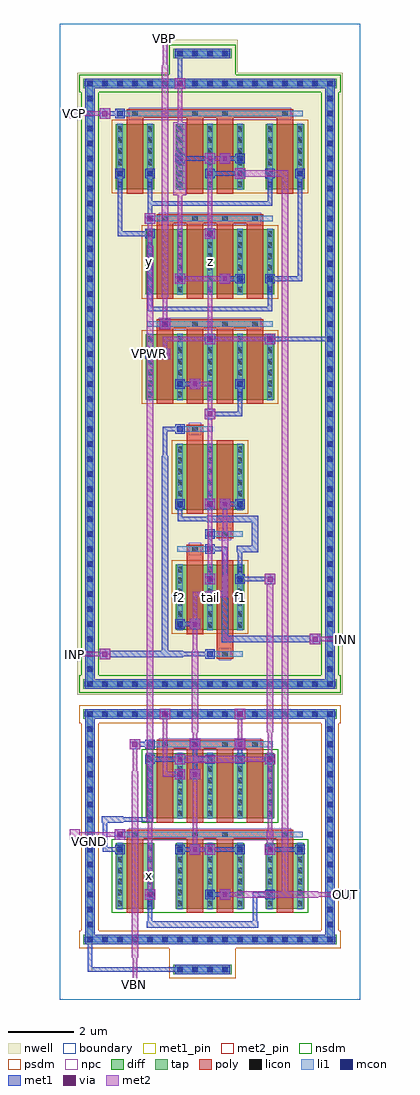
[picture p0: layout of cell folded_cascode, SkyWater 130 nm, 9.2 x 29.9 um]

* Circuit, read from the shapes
.subckt folded_cascode INN INP OUT VBN VBP VCN VCP VGND VPWR f1 f2 tail x y z
XM1 x VCN f1 VGND sky130_fd_pr__nfet_01v8 w=2 l=0.5 m=2
XM2 VGND VBN f1 VGND sky130_fd_pr__nfet_01v8 w=2 l=0.5 m=2
XM3 OUT VCN f2 VGND sky130_fd_pr__nfet_01v8 w=2 l=0.5 m=2
XM4 f2 VBN VGND VGND sky130_fd_pr__nfet_01v8 w=2 l=0.5 m=2
XM5 x VCP y VPWR sky130_fd_pr__pfet_01v8 w=2 l=0.5 m=2
XM6 tail VBP VPWR VPWR sky130_fd_pr__pfet_01v8 w=2 l=0.5 m=4
XM7 VPWR x y VPWR sky130_fd_pr__pfet_01v8 w=2 l=0.5 m=2
XM8 tail INN f2 VPWR sky130_fd_pr__pfet_01v8 w=2 l=0.5 m=2
XM9 tail INP f1 VPWR sky130_fd_pr__pfet_01v8 w=2 l=0.5 m=2
XM10 z x VPWR VPWR sky130_fd_pr__pfet_01v8 w=2 l=0.5 m=2
XM11 OUT VCP z VPWR sky130_fd_pr__pfet_01v8 w=2 l=0.5 m=2
.ends

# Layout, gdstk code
import gdstk
lib = gdstk.Library(unit=1e-6, precision=1e-09)
def R(c, l, rs):  # rectangles x0, y0, x1, y1
    for r in rs: c.add(gdstk.rectangle(r[:2], r[2:], *l))
def A(c, l, x, y, w, h, nx, ny, dx, dy):  # array of equal rectangles
    R(c, l, [(x+i*dx, y+j*dy, x+i*dx+w, y+j*dy+h) for i in range(nx) for j in range(ny)])
nwell = (64, 20)
diff = (65, 20)
tap = (65, 44)
poly = (66, 20)
licon = (66, 44)
li1 = (67, 20)
mcon = (67, 44)
met1_pin = (68, 16)
met1 = (68, 20)
via = (68, 44)
met2_pin = (69, 16)
met2 = (69, 20)
nsdm = (93, 44)
psdm = (94, 20)
npc = (95, 20)
boundary = (235, 4)

folded_cascode = lib.new_cell('folded_cascode')
R(folded_cascode, nwell, [(0.535,9.335,8.665,28.385), (3.295,28.385,5.445,29.4)])
R(folded_cascode, diff, [(1.715,2.785,2.885,4.785), (3.555,2.785,5.645,4.785), (6.315,2.785,7.485,4.785), (2.635,5.545,6.565,7.545), (3.555,11.325,5.645,13.325), (3.555,15.005,5.645,17.005), (2.635,18.38,6.565,20.38), (2.635,21.6,6.565,23.6), (1.715,24.82,2.885,26.82), (3.555,24.82,5.645,26.82), (6.315,24.82,7.485,26.82)])
R(folded_cascode, tap, [(3.475,0.775,5.265,1.065), (0.715,1.695,8.485,1.985), (0.775,1.695,1.065,8.885), (8.135,1.695,8.425,8.885), (0.715,8.595,8.485,8.885), (0.715,9.515,8.485,9.805), (0.775,9.515,1.065,28.205), (8.135,9.515,8.425,28.205), (0.715,27.915,8.485,28.205), (3.475,28.835,5.265,29.125)])
A(folded_cascode, poly, 2.97, 5.415, 0.5, 2.405, 4, 1, 0.92, 0)
A(folded_cascode, poly, 2.97, 18.25, 0.5, 2.45, 4, 2, 0.92, 3.22)
R(folded_cascode, poly, [(2.05,2.655,2.55,5.06), (3.89,2.655,4.39,5.06), (4.81,2.655,5.31,5.06), (6.65,2.655,7.15,5.06), (2.05,4.925,7.15,5.195), (2.97,7.685,6.23,7.955), (4.81,10.445,5.31,10.715), (4.81,10.58,5.31,13.455), (3.89,11.195,4.39,13.8), (3.89,13.665,4.39,13.935), (4.81,14.125,5.31,14.395), (4.81,14.26,5.31,17.135), (3.89,14.875,4.39,17.48), (3.89,17.345,4.39,17.615), (2.97,20.565,6.23,20.835), (2.97,23.785,6.23,24.055), (2.05,24.69,2.55,27.14), (3.89,24.69,4.39,27.14), (4.81,24.69,5.31,27.14), (6.65,24.69,7.15,27.14), (2.05,27.005,7.15,27.275)])
A(folded_cascode, licon, 3.595, 0.835, 0.17, 0.17, 4, 2, 0.46, 28.06)
A(folded_cascode, licon, 0.835, 1.755, 0.17, 0.17, 17, 2, 0.46, 6.9)
A(folded_cascode, licon, 0.835, 2.215, 0.17, 0.17, 1, 14, 0, 0.46)
A(folded_cascode, licon, 8.195, 2.215, 0.17, 0.17, 1, 14, 0, 0.46)
A(folded_cascode, licon, 1.755, 2.85, 0.17, 0.17, 7, 6, 0.92, 0.34)
A(folded_cascode, licon, 2.675, 5.61, 0.17, 0.17, 5, 6, 0.92, 0.34)
A(folded_cascode, licon, 3.135, 7.735, 0.17, 0.17, 4, 2, 0.92, 12.88)
A(folded_cascode, licon, 0.835, 9.575, 0.17, 0.17, 17, 2, 0.46, 18.4)
A(folded_cascode, licon, 0.835, 10.035, 0.17, 0.17, 1, 39, 0, 0.46)
A(folded_cascode, licon, 8.195, 10.035, 0.17, 0.17, 1, 39, 0, 0.46)
A(folded_cascode, licon, 3.595, 11.39, 0.17, 0.17, 3, 6, 0.92, 0.34)
A(folded_cascode, licon, 3.595, 15.07, 0.17, 0.17, 3, 6, 0.92, 0.34)
A(folded_cascode, licon, 2.675, 18.445, 0.17, 0.17, 5, 6, 0.92, 0.34)
A(folded_cascode, licon, 2.675, 21.665, 0.17, 0.17, 5, 6, 0.92, 0.34)
A(folded_cascode, licon, 3.135, 23.835, 0.17, 0.17, 4, 1, 0.92, 0)
A(folded_cascode, licon, 1.755, 24.885, 0.17, 0.17, 7, 6, 0.92, 0.34)
R(folded_cascode, licon, [(2.215,4.975,2.385,5.145), (4.055,4.975,4.225,5.145), (4.975,4.975,5.145,5.145), (6.815,4.975,6.985,5.145), (4.975,10.495,5.145,10.665), (4.055,13.715,4.225,13.885), (4.975,14.175,5.145,14.345), (4.055,17.395,4.225,17.565), (2.215,27.055,2.385,27.225), (4.055,27.055,4.225,27.225), (4.975,27.055,5.145,27.225), (6.815,27.055,6.985,27.225)])
A(folded_cascode, li1, 1.755, 2.77, 0.17, 2.03, 7, 2, 0.92, 22.035)
A(folded_cascode, li1, 2.675, 5.53, 0.17, 2.03, 5, 2, 0.92, 12.835)
A(folded_cascode, li1, 3.595, 11.31, 0.17, 2.03, 3, 2, 0.92, 3.68)
A(folded_cascode, li1, 2.675, 21.585, 0.17, 2.03, 5, 1, 0.92, 0)
R(folded_cascode, li1, [(3.515,0.835,5.225,1.005), (0.755,1.755,8.445,1.925), (0.835,1.755,1.005,8.825), (8.195,1.755,8.365,8.825), (1.755,4.975,7.445,5.145), (2.675,7.735,6.525,7.905), (0.755,8.655,8.445,8.825), (0.755,9.575,8.445,9.745), (0.835,9.575,1.005,28.145), (8.195,9.575,8.365,28.145), (4.515,10.495,5.605,10.665), (3.595,13.715,4.685,13.885), (4.515,14.175,5.605,14.345), (3.595,17.395,4.685,17.565), (2.675,20.615,6.525,20.785), (2.675,23.835,6.525,24.005), (1.755,27.055,7.445,27.225), (0.755,27.975,8.445,28.145), (3.515,28.895,5.225,29.065)])
A(folded_cascode, mcon, 3.595, 0.835, 0.17, 0.17, 4, 2, 0.46, 28.06)
A(folded_cascode, mcon, 0.835, 1.755, 0.17, 0.17, 17, 2, 0.46, 6.9)
A(folded_cascode, mcon, 0.835, 3.135, 0.17, 0.17, 5, 1, 1.84, 0)
A(folded_cascode, mcon, 0.835, 3.595, 0.17, 0.17, 1, 8, 0, 0.46)
A(folded_cascode, mcon, 8.195, 3.595, 0.17, 0.17, 1, 11, 0, 0.46)
A(folded_cascode, mcon, 1.755, 4.515, 0.17, 0.17, 4, 1, 1.84, 0)
A(folded_cascode, mcon, 0.835, 7.275, 0.17, 0.17, 3, 2, 1.84, 16.1)
A(folded_cascode, mcon, 0.835, 9.575, 0.17, 0.17, 17, 2, 0.46, 18.4)
A(folded_cascode, mcon, 0.835, 10.495, 0.17, 0.17, 3, 2, 3.68, 3.22)
A(folded_cascode, mcon, 0.835, 10.955, 0.17, 0.17, 1, 6, 0, 0.46)
A(folded_cascode, mcon, 8.195, 10.955, 0.17, 0.17, 1, 6, 0, 0.46)
A(folded_cascode, mcon, 0.835, 14.175, 0.17, 0.17, 3, 1, 3.68, 0)
A(folded_cascode, mcon, 0.835, 14.635, 0.17, 0.17, 1, 19, 0, 0.46)
A(folded_cascode, mcon, 8.195, 14.635, 0.17, 0.17, 1, 12, 0, 0.46)
A(folded_cascode, mcon, 3.595, 15.095, 0.17, 0.17, 3, 1, 0.92, 0)
A(folded_cascode, mcon, 4.515, 20.155, 0.17, 0.17, 3, 1, 1.84, 0)
A(folded_cascode, mcon, 8.195, 20.615, 0.17, 0.17, 1, 10, 0, 0.46)
A(folded_cascode, mcon, 0.835, 23.835, 0.17, 0.17, 1, 3, 0, 0.46)
A(folded_cascode, mcon, 0.835, 25.215, 0.17, 0.17, 3, 1, 0.92, 0)
A(folded_cascode, mcon, 6.355, 25.215, 0.17, 0.17, 3, 1, 0.92, 0)
A(folded_cascode, mcon, 0.835, 25.675, 0.17, 0.17, 1, 5, 0, 0.46)
A(folded_cascode, mcon, 8.195, 25.675, 0.17, 0.17, 1, 5, 0, 0.46)
R(folded_cascode, mcon, [(0.835,2.215,1.005,2.385), (8.195,2.215,8.365,2.385), (0.835,2.675,1.005,2.845), (8.195,2.675,8.365,2.845), (1.755,4.975,1.925,5.145), (3.595,6.815,3.765,6.985), (5.435,7.275,5.605,7.445), (6.355,7.275,6.525,7.445), (0.835,7.735,1.005,7.905), (2.675,7.735,2.845,7.905), (0.835,8.195,1.005,8.365), (0.835,10.035,1.005,10.205), (8.195,10.035,8.365,10.205), (3.595,11.415,3.765,11.585), (4.515,12.795,4.685,12.965), (5.435,12.795,5.605,12.965), (3.595,17.395,3.765,17.565), (3.595,18.775,3.765,18.945), (5.435,18.775,5.605,18.945), (2.675,19.695,2.845,19.865), (3.135,20.615,3.305,20.785), (3.595,21.995,3.765,22.165), (5.435,21.995,5.605,22.165), (6.355,21.995,6.525,22.165), (2.675,23.835,2.845,24.005), (4.515,25.215,4.685,25.385), (3.595,25.675,3.765,25.845), (5.435,25.675,5.605,25.845), (1.755,27.055,1.925,27.225)])
R(folded_cascode, met1_pin, [(0.85,0.85,0.99,8.81), (2.615,19.635,2.905,19.925)])
A(folded_cascode, met1, 2.615, 3.075, 0.29, 0.29, 3, 2, 1.84, 22.08)
A(folded_cascode, met1, 1.695, 4.455, 0.29, 0.29, 4, 1, 1.84, 0)
A(folded_cascode, met1, 4.455, 7.215, 0.29, 0.29, 3, 1, 0.92, 0)
A(folded_cascode, met1, 3.535, 15.035, 0.29, 0.29, 3, 1, 0.92, 0)
R(folded_cascode, met1, [(3.535,0.775,5.205,1.065), (0.85,0.85,0.99,8.81), (0.85,0.85,3.75,0.99), (3.61,0.85,3.75,0.99), (0.775,1.695,8.425,1.985), (0.775,1.695,1.065,8.885), (8.135,1.695,8.425,8.885), (2.66,2.2,6.08,2.4), (2.69,2.23,2.83,3.29), (5.91,2.23,6.05,3.29), (2.6,3.06,2.92,3.38), (4.9,3.06,5.22,3.38), (4.53,3.15,5.13,3.29), (5.91,3.15,6.51,3.29), (3.98,4.44,4.3,4.76), (4.44,4.44,4.76,4.76), (6.28,4.44,6.6,4.76), (1.31,4.53,1.91,4.67), (1.31,4.53,1.45,5.59), (3.61,4.53,4.21,4.67), (4.53,4.53,5.59,4.67), (6.37,4.53,7.43,4.67), (1.68,4.9,2,5.22), (1.695,4.915,1.985,5.205), (1.28,5.42,1.94,5.62), (1.77,5.45,2.83,5.59), (2.69,5.45,2.83,7.43), (3.52,6.74,3.84,7.06), (3.98,6.74,4.3,7.06), (3.535,6.755,3.825,7.045), (4.07,6.83,4.21,7.43), (3.52,7.2,3.84,7.52), (6.28,7.2,6.6,7.52), (2.615,7.215,2.905,7.505), (2.69,7.29,3.75,7.43), (4.07,7.29,4.21,7.89), (4.07,7.29,4.67,7.43), (5.45,7.29,5.59,7.89), (2.14,7.66,2.46,7.98), (3.98,7.66,4.3,7.98), (5.36,7.66,5.68,7.98), (2.615,7.675,2.905,7.965), (2.23,7.75,2.83,7.89), (3.06,8.58,3.38,8.9), (5.36,8.58,5.68,8.9), (0.775,8.595,8.425,8.885), (0.85,8.67,3.29,8.81), (0.85,8.67,0.99,8.81), (3.15,8.67,5.59,8.81), (3.15,8.67,3.29,8.81), (0.775,9.515,8.425,9.805), (0.775,9.515,1.065,28.205), (8.135,9.515,8.425,28.205), (1.22,10.42,1.54,10.74), (4.455,10.435,4.745,10.725), (1.28,10.48,3.78,10.68), (3.12,10.48,3.32,16.66), (3.61,10.51,4.67,10.65), (7.66,10.88,7.98,11.2), (4.96,10.94,5.16,12.98), (4.96,10.94,7.92,11.14), (3.98,11.34,4.3,11.66), (3.535,11.355,3.825,11.645), (3.61,11.43,4.21,11.57), (4.44,12.72,4.76,13.04), (6.28,12.72,6.6,13.04), (4.455,12.735,4.745,13.025), (5.375,12.735,5.665,13.025), (4.99,12.81,5.13,13.87), (5.45,12.81,6.51,12.95), (5.45,12.81,5.59,13.87), (4.455,13.655,4.745,13.945), (5.42,13.7,6.08,13.9), (5.88,13.7,6.08,14.82), (4.53,13.73,4.67,14.33), (4.53,13.73,5.13,13.87), (4.455,14.115,4.745,14.405), (4.5,14.62,6.08,14.82), (3.61,14.65,4.67,14.79), (3.61,14.65,3.75,15.25), (4.44,15.02,4.76,15.34), (4.9,15.02,5.22,15.34), (4.99,15.11,5.59,15.25), (3.15,16.49,3.29,17.55), (3.535,17.335,3.825,17.625), (3.15,17.41,3.75,17.55), (4.44,17.78,4.76,18.1), (4.53,17.87,5.59,18.01), (5.45,17.87,5.59,18.93), (3.98,18.7,4.3,19.02), (3.535,18.715,3.825,19.005), (5.375,18.715,5.665,19.005), (3.61,18.79,4.21,18.93), (3.06,19.62,3.38,19.94), (2.615,19.635,2.905,19.925), (2.69,19.71,3.29,19.85), (4.44,20.08,4.76,20.4), (6.28,20.08,6.6,20.4), (4.455,20.095,4.745,20.385), (6.295,20.095,6.585,20.385), (6.37,20.17,8.35,20.31), (8.21,20.17,8.35,20.31), (3.06,20.54,3.38,20.86), (3.075,20.555,3.365,20.845), (2.69,21.09,6.51,21.23), (2.69,21.09,2.83,23.53), (6.37,21.09,6.51,22.15), (3.52,21.92,3.84,22.24), (4.9,21.92,5.22,22.24), (3.535,21.935,3.825,22.225), (5.375,21.935,5.665,22.225), (6.295,21.935,6.585,22.225), (4.99,22.01,5.59,22.15), (6.37,22.01,7.43,22.15), (7.29,22.01,7.43,25.37), (4.44,23.3,4.76,23.62), (2.615,23.315,2.905,23.605), (4.455,23.315,4.745,23.605), (1.77,23.39,2.83,23.53), (1.77,23.39,1.91,25.37), (2.6,23.76,2.92,24.08), (2.615,23.775,2.905,24.065), (2.69,23.85,2.83,25.37), (2.69,24.31,6.51,24.45), (6.37,24.31,6.51,25.37), (5.36,25.14,5.68,25.46), (1.695,25.155,1.985,25.445), (7.215,25.155,7.505,25.445), (4.53,25.23,5.59,25.37), (4.44,25.6,4.76,25.92), (4.9,25.6,5.22,25.92), (3.535,25.615,3.825,25.905), (5.375,25.615,5.665,25.905), (3.61,25.69,4.67,25.83), (4.99,25.69,5.59,25.83), (1.22,26.98,1.54,27.3), (1.695,26.995,1.985,27.285), (1.31,27.07,1.91,27.21), (3.52,27.9,3.84,28.22), (0.775,27.915,8.425,28.205), (3.61,27.99,3.75,29.05), (3.61,27.99,3.75,28.13), (3.535,28.835,5.205,29.125), (3.61,28.91,3.75,29.05)])
R(folded_cascode, via, [(2.685,3.145,2.835,3.295), (4.985,3.145,5.135,3.295), (4.065,4.525,4.215,4.675), (4.525,4.525,4.675,4.675), (6.365,4.525,6.515,4.675), (1.765,4.985,1.915,5.135), (3.605,6.825,3.755,6.975), (4.065,6.825,4.215,6.975), (3.605,7.285,3.755,7.435), (6.365,7.285,6.515,7.435), (2.225,7.745,2.375,7.895), (4.065,7.745,4.215,7.895), (5.445,7.745,5.595,7.895), (3.145,8.665,3.295,8.815), (5.445,8.665,5.595,8.815), (1.305,10.505,1.455,10.655), (7.745,10.965,7.895,11.115), (4.065,11.425,4.215,11.575), (4.525,12.805,4.675,12.955), (6.365,12.805,6.515,12.955), (4.525,15.105,4.675,15.255), (4.985,15.105,5.135,15.255), (4.525,17.865,4.675,18.015), (4.065,18.785,4.215,18.935), (3.145,19.705,3.295,19.855), (4.525,20.165,4.675,20.315), (6.365,20.165,6.515,20.315), (3.145,20.625,3.295,20.775), (3.605,22.005,3.755,22.155), (4.985,22.005,5.135,22.155), (4.525,23.385,4.675,23.535), (2.685,23.845,2.835,23.995), (5.445,25.225,5.595,25.375), (4.525,25.685,4.675,25.835), (4.985,25.685,5.135,25.835), (1.305,27.065,1.455,27.215), (3.605,27.985,3.755,28.135)])
R(folded_cascode, met2_pin, [(2.15,0.31,2.45,0.61), (8.59,3.07,8.89,3.37), (0.31,4.91,0.61,5.21), (0.31,10.43,0.61,10.73), (8.59,10.89,8.89,11.19), (0.31,26.99,0.61,27.29), (3.07,29.29,3.37,29.59)])
R(folded_cascode, met2, [(2.15,0.31,2.45,0.61), (2.23,0.39,2.37,1.45), (2.23,0.39,2.37,0.53), (2.2,1.28,2.4,7), (2.6,3.06,2.92,3.38), (4.9,3.06,5.22,3.38), (8.59,3.07,8.89,3.37), (5.42,3.12,7.92,3.32), (6.8,3.12,7,25.4), (2.69,3.15,2.83,5.59), (4.99,3.15,5.59,3.29), (7.75,3.15,8.81,3.29), (8.67,3.15,8.81,3.29), (3.98,4.44,4.3,4.76), (4.44,4.44,4.76,4.76), (6.28,4.44,6.6,4.76), (6.34,4.5,6.54,5.16), (4.07,4.53,4.21,6.97), (4.07,4.53,4.67,4.67), (1.68,4.9,2,5.22), (0.31,4.91,0.61,5.21), (0.39,4.99,1.91,5.13), (0.39,4.99,0.53,5.13), (6.37,4.99,6.51,7.43), (2.66,5.42,2.86,23.1), (3.52,6.74,3.84,7.06), (3.98,6.74,4.3,7.06), (2.23,6.83,2.37,7.89), (3.15,6.83,3.75,6.97), (3.15,6.83,3.29,8.81), (3.52,7.2,3.84,7.52), (6.28,7.2,6.6,7.52), (3.58,7.26,5.62,7.46), (5.45,7.29,6.51,7.43), (6.37,7.29,6.51,8.35), (2.14,7.66,2.46,7.98), (3.98,7.66,4.3,7.98), (5.36,7.66,5.68,7.98), (4.07,7.75,4.21,8.35), (5.45,7.75,5.59,8.81), (4.04,8.18,4.24,10.68), (6.34,8.18,6.54,12.98), (3.06,8.58,3.38,8.9), (5.36,8.58,5.68,8.9), (1.22,10.42,1.54,10.74), (0.31,10.43,0.61,10.73), (0.39,10.51,0.53,10.65), (0.39,10.51,1.45,10.65), (4.07,10.51,4.21,11.57), (7.66,10.88,7.98,11.2), (8.59,10.89,8.89,11.19), (7.75,10.97,8.81,11.11), (8.67,10.97,8.81,11.11), (3.98,11.34,4.3,11.66), (4.07,11.43,4.21,12.49), (4.5,12.32,5.16,12.52), (4.96,12.32,5.16,14.36), (4.07,12.35,4.67,12.49), (4.44,12.72,4.76,13.04), (6.28,12.72,6.6,13.04), (4.53,12.81,4.67,15.25), (4.99,14.19,5.13,15.25), (4.44,15.02,4.76,15.34), (4.9,15.02,5.22,15.34), (4.53,15.11,4.67,18.01), (4.44,17.78,4.76,18.1), (4.53,17.87,4.67,18.93), (3.98,18.7,4.3,19.02), (4.07,18.79,4.67,18.93), (3.06,19.62,3.38,19.94), (3.15,19.71,3.29,20.31), (4.44,20.08,4.76,20.4), (6.28,20.08,6.6,20.4), (3.15,20.17,4.67,20.31), (4.53,20.17,4.67,22.15), (4.53,20.17,6.51,20.31), (3.06,20.54,3.38,20.86), (3.15,20.63,3.29,21.69), (3.12,21.52,3.32,28.62), (3.52,21.92,3.84,22.24), (4.9,21.92,5.22,22.24), (3.61,22.01,3.75,24.91), (3.61,22.01,5.13,22.15), (2.69,22.93,2.83,23.99), (4.44,23.3,4.76,23.62), (4.53,23.39,4.67,25.83), (2.6,23.76,2.92,24.08), (3.48,24.64,3.88,26.88), (5.36,25.14,5.68,25.46), (5.42,25.2,7,25.4), (4.44,25.6,4.76,25.92), (4.9,25.6,5.22,25.92), (4.53,25.69,5.13,25.83), (3.61,26.61,3.75,28.13), (1.22,26.98,1.54,27.3), (0.31,26.99,0.61,27.29), (0.39,27.07,0.53,27.21), (0.39,27.07,1.45,27.21), (3.52,27.9,3.84,28.22), (3.15,28.45,3.29,29.51), (3.07,29.29,3.37,29.59), (3.15,29.37,3.29,29.51)])
R(folded_cascode, nsdm, [(1.59,2.66,7.61,4.91), (2.51,5.42,6.69,7.67), (0.59,9.39,8.61,9.93), (0.65,9.93,1.19,27.79), (8.01,9.93,8.55,27.79), (0.59,27.79,8.61,28.33), (3.35,28.33,5.39,29.25)])
R(folded_cascode, psdm, [(3.35,0.65,5.39,1.57), (0.59,1.57,8.61,2.11), (0.65,2.11,1.19,8.47), (8.01,2.11,8.55,8.47), (0.59,8.47,8.61,9.01), (3.43,11.2,5.77,13.45), (3.43,14.88,5.77,17.13), (2.51,18.255,6.69,20.505), (2.51,21.475,6.69,23.725), (1.59,24.695,7.61,26.945)])
R(folded_cascode, npc, [(2.115,4.875,7.085,5.245), (3.035,7.635,6.165,8.005), (4.875,10.395,5.245,10.765), (3.955,13.615,4.325,13.985), (4.875,14.075,5.245,14.445), (3.955,17.295,4.325,17.665), (3.035,20.515,6.165,20.885), (3.035,23.735,6.165,24.105), (2.115,26.955,7.085,27.325)])
R(folded_cascode, boundary, [(0,0,9.2,29.9)])
folded_cascode.add(gdstk.Label('f2', (3.68,12.325), layer=67, texttype=5))
folded_cascode.add(gdstk.Label('tail', (4.6,12.325), layer=67, texttype=5))
folded_cascode.add(gdstk.Label('f1', (5.52,12.325), layer=67, texttype=5))
folded_cascode.add(gdstk.Label('x', (2.76,3.785), layer=67, texttype=5))
folded_cascode.add(gdstk.Label('y', (2.76,22.6), layer=67, texttype=5))
folded_cascode.add(gdstk.Label('z', (4.6,22.6), layer=67, texttype=5))
folded_cascode.add(gdstk.Label('VPWR', (2.76,19.78), layer=68, texttype=5))
folded_cascode.add(gdstk.Label('VGND', (0.92,4.83), layer=68, texttype=5))
folded_cascode.add(gdstk.Label('INP', (0.46,10.58), layer=69, texttype=5))
folded_cascode.add(gdstk.Label('INN', (8.74,11.04), layer=69, texttype=5))
folded_cascode.add(gdstk.Label('VBP', (3.22,29.44), layer=69, texttype=5))
folded_cascode.add(gdstk.Label('VBN', (2.3,0.46), layer=69, texttype=5))
folded_cascode.add(gdstk.Label('VCN', (0.46,5.06), layer=69, texttype=5))
folded_cascode.add(gdstk.Label('VCP', (0.46,27.14), layer=69, texttype=5))
folded_cascode.add(gdstk.Label('OUT', (8.74,3.22), layer=69, texttype=5))
folded_cascode.add(gdstk.Label('VPWR', (2.76,19.78), layer=68, texttype=16))
folded_cascode.add(gdstk.Label('VGND', (0.92,4.83), layer=68, texttype=16))
folded_cascode.add(gdstk.Label('INP', (0.46,10.58), layer=69, texttype=16))
folded_cascode.add(gdstk.Label('INN', (8.74,11.04), layer=69, texttype=16))
folded_cascode.add(gdstk.Label('VBP', (3.22,29.44), layer=69, texttype=16))
folded_cascode.add(gdstk.Label('VBN', (2.3,0.46), layer=69, texttype=16))
folded_cascode.add(gdstk.Label('VCN', (0.46,5.06), layer=69, texttype=16))
folded_cascode.add(gdstk.Label('VCP', (0.46,27.14), layer=69, texttype=16))
folded_cascode.add(gdstk.Label('OUT', (8.74,3.22), layer=69, texttype=16))

lib.write_gds('folded_cascode.gds')
